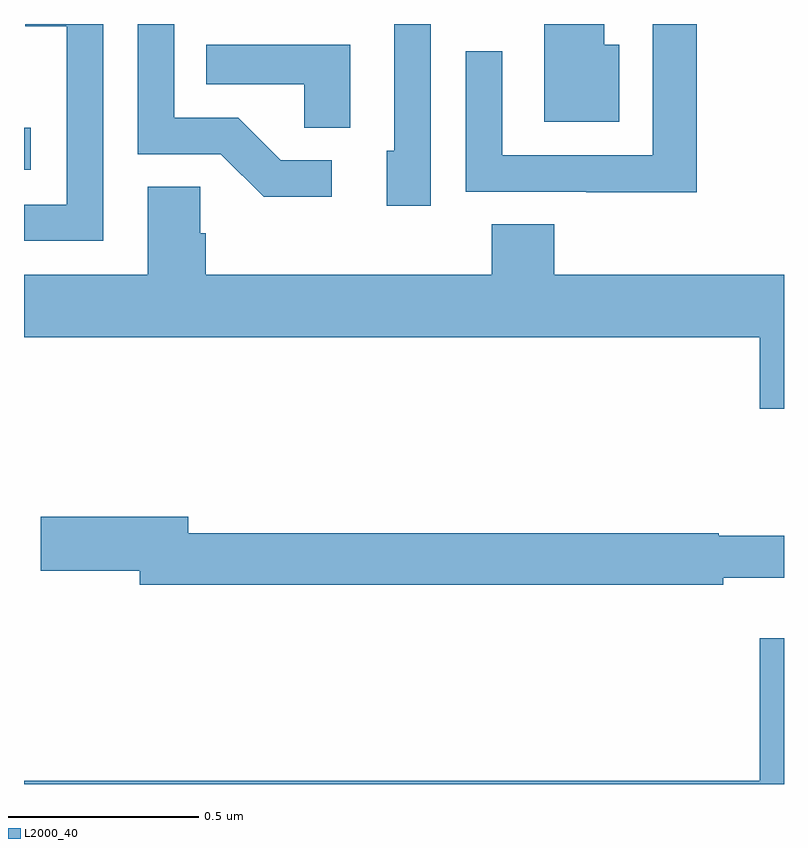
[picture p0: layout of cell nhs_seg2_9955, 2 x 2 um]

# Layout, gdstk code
import gdstk
lib = gdstk.Library(unit=1e-6, precision=1e-09)
def R(c, l, rs):  # rectangles x0, y0, x1, y1
    for r in rs: c.add(gdstk.rectangle(r[:2], r[2:], *l))
def P(c, l, *ps):  # polygons
    for p in ps: c.add(gdstk.Polygon(p, *l))
L2000_40 = (2000, 40)

nhs_seg2_9955 = lib.new_cell('nhs_seg2_9955')
R(nhs_seg2_9955, L2000_40, [(235,641.417,235.018,641.527)])
P(nhs_seg2_9955, L2000_40, [(236.771,641.8),(236.655,641.8),(236.655,641.454),(236.259,641.454),(236.259,641.728),(236.163,641.728),(236.163,641.358),(236.479,641.358),(236.479,641.357),(236.771,641.357)],
  [(236.566,641.746),(236.527,641.746),(236.527,641.8),(236.369,641.8),(236.369,641.543),(236.566,641.543)],
  [(235.209,641.8),(235.003,641.8),(235.003,641.794),(235.113,641.794),(235.113,641.325),(235,641.325),(235,641.229),(235.209,641.229)],
  [(236.07,641.8),(235.974,641.8),(235.974,641.466),(235.955,641.466),(235.955,641.322),(236.07,641.322)],
  [(235.81,641.442),(235.675,641.442),(235.564,641.553),(235.395,641.553),(235.395,641.8),(235.299,641.8),(235.299,641.457),(235.518,641.457),(235.631,641.345),(235.81,641.345)],
  [(235.858,641.746),(235.48,641.746),(235.48,641.642),(235.737,641.642),(235.737,641.527),(235.858,641.527)],
  [(237,641.14),(236.396,641.14),(236.396,641.273),(236.231,641.273),(236.231,641.14),(235.478,641.14),(235.478,641.249),(235.464,641.249),(235.464,641.372),(235.325,641.372),(235.325,641.14),(235,641.14),(235,640.976),(236.936,640.976),(236.936,640.788),(237,640.788)],
  [(236.84,640.343),(237,640.343),(237,640.453),(236.828,640.453),(236.828,640.46),(235.432,640.46),(235.432,640.503),(235.044,640.503),(235.044,640.361),(235.304,640.361),(235.304,640.324),(236.84,640.324)],
  [(237,640.183),(236.936,640.183),(236.936,639.808),(235,639.808),(235,639.8),(237,639.8)])

lib.write_gds('nhs_seg2_9955.gds')
